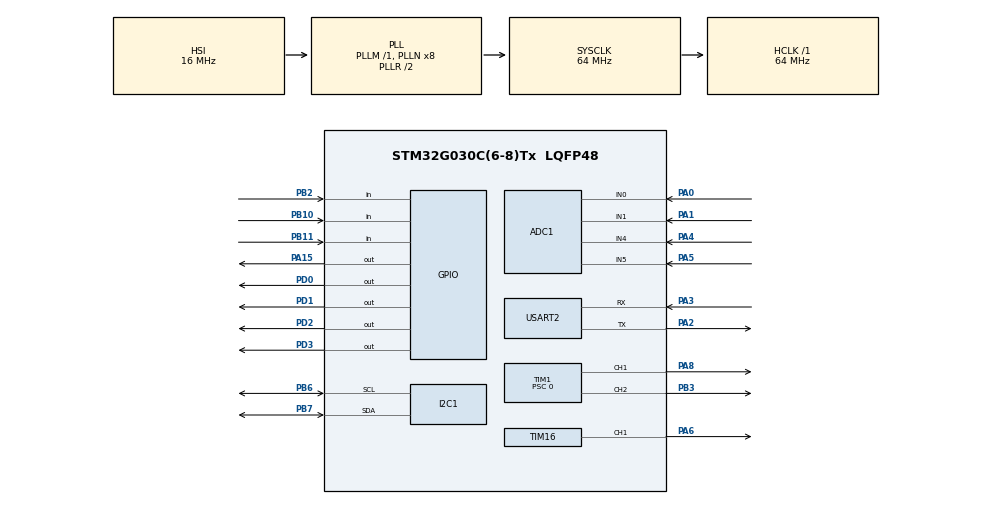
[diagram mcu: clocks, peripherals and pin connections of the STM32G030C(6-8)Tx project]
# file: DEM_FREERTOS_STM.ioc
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ADC1.Channel-0\#ChannelRegularConversion=ADC_CHANNEL_0
ADC1.Channel-1\#ChannelRegularConversion=ADC_CHANNEL_1
ADC1.Channel-2\#ChannelRegularConversion=ADC_CHANNEL_4
ADC1.Channel-3\#ChannelRegularConversion=ADC_CHANNEL_5
ADC1.ClockPrescaler=ADC_CLOCK_SYNC_PCLK_DIV4
ADC1.ContinuousConvMode=DISABLE
ADC1.DMAContinuousRequests=ENABLE
ADC1.EOCSelection=ADC_EOC_SEQ_CONV
ADC1.ExternalTrigConv=ADC_SOFTWARE_START
ADC1.NbrOfConversion=4
ADC1.NbrOfConversionFlag=1
ADC1.Rank-0\#ChannelRegularConversion=1
ADC1.Rank-1\#ChannelRegularConversion=2
ADC1.Rank-2\#ChannelRegularConversion=3
ADC1.Rank-3\#ChannelRegularConversion=4
ADC1.SamplingTime-0\#ChannelRegularConversion=ADC_SAMPLINGTIME_COMMON_2
ADC1.SamplingTime-1\#ChannelRegularConversion=ADC_SAMPLINGTIME_COMMON_2
ADC1.SamplingTime-2\#ChannelRegularConversion=ADC_SAMPLINGTIME_COMMON_1
ADC1.SamplingTime-3\#ChannelRegularConversion=ADC_SAMPLINGTIME_COMMON_1
ADC1.SamplingTimeCommon1=ADC_SAMPLETIME_160CYCLES_5
ADC1.SamplingTimeCommon2=ADC_SAMPLETIME_160CYCLES_5
ADC1.SelectedChannel=ADC_CHANNEL_0|ADC_CHANNEL_1|ADC_CHANNEL_4|ADC_CHANNEL_5
ADC1.master=1
Dma.ADC1.0.Direction=DMA_PERIPH_TO_MEMORY
Dma.ADC1.0.EventEnable=DISABLE
Dma.ADC1.0.Instance=DMA1_Channel1
Dma.ADC1.0.MemDataAlignment=DMA_MDATAALIGN_HALFWORD
Dma.ADC1.0.MemInc=DMA_MINC_ENABLE
Dma.ADC1.0.Mode=DMA_NORMAL
Dma.ADC1.0.PeriphDataAlignment=DMA_PDATAALIGN_HALFWORD
Dma.ADC1.0.PeriphInc=DMA_PINC_DISABLE
Dma.ADC1.0.Polarity=HAL_DMAMUX_REQ_GEN_RISING
Dma.ADC1.0.Priority=DMA_PRIORITY_LOW
Dma.ADC1.0.RequestNumber=1
Dma.ADC1.0.SignalID=NONE
Dma.ADC1.0.SyncEnable=DISABLE
Dma.ADC1.0.SyncPolarity=HAL_DMAMUX_SYNC_NO_EVENT
Dma.ADC1.0.SyncRequestNumber=1
Dma.ADC1.0.SyncSignalID=NONE
Dma.Request0=ADC1
FREERTOS.BinarySemaphores01=adcSem,Dynamic,NULL,Available
FREERTOS.HEAP_NUMBER=3
FREERTOS.MEMORY_ALLOCATION=2
FREERTOS.Mutexes01=i2cMutex,Dynamic,NULL,Available
FREERTOS.Tasks01=TaskADC,2,96,vTaskADC,Default,NULL,Dynamic,NULL,NULL;TaskLis2dw12,1,96,vTaskLis2dw12,Default,NULL,Dynamic,NULL,NULL;TaskUART,-1,96,vTaskUART,Default,NULL,Dynamic,NULL,NULL;TaskSsd1306,-1,128,vTaskSsd1306,Default,NULL,Dynamic,NULL,NULL
FREERTOS.Timers01=KnightTimer,vTimerCallback_KnightRider,osTimerPeriodic,Default,NULL,Dynamic,NULL
FREERTOS.configMAX_PRIORITIES=7
FREERTOS.configMINIMAL_STACK_SIZE=64
FREERTOS.configQUEUE_REGISTRY_SIZE=10
FREERTOS.configTIMER_TASK_PRIORITY=4
FREERTOS.configTIMER_TASK_STACK_DEPTH=128
FREERTOS.configTOTAL_HEAP_SIZE=3272
FREERTOS.configUSE_NEWLIB_REENTRANT=1
FREERTOS.configUSE_TIMERS=1
I2C1.Timing=0x10B17DB5
Mcu.Family=STM32G0
Mcu.Name=STM32G030C(6-8)Tx
Mcu.Package=LQFP48
NVIC.DMA1_Channel1_IRQn=true\:3\:0\:false\:false\:true\:true\:false\:true\:true
NVIC.TIM3_IRQn=true\:3\:0\:false\:false\:true\:false\:false\:true\:true
NVIC.TimeBase=TIM3_IRQn
NVIC.TimeBaseIP=TIM3
PA0.Mode=IN0
PA0.Signal=ADC1_IN0
PA1.Mode=IN1
PA1.Signal=ADC1_IN1
PA13.Mode=Serial_Wire
PA13.Signal=SYS_SWDIO
PA14-BOOT0.Mode=Serial_Wire
PA14-BOOT0.Signal=SYS_SWCLK
PA15.Signal=GPIO_Output
PA2.Mode=Asynchronous
PA2.Signal=USART2_TX
PA3.Mode=Asynchronous
PA3.Signal=USART2_RX
PA4.Mode=IN4
PA4.Signal=ADC1_IN4
PA5.Mode=IN5
PA5.Signal=ADC1_IN5
PA6.Signal=S_TIM16_CH1
PA8.Signal=S_TIM1_CH1
PB10.Signal=GPIO_Input
PB11.Signal=GPIO_Input
PB2.Signal=GPIO_Input
PB3.Signal=S_TIM1_CH2
PB6.Mode=I2C
PB6.Signal=I2C1_SCL
PB7.Mode=I2C
PB7.Signal=I2C1_SDA
PD0.Signal=GPIO_Output
PD1.Signal=GPIO_Output
PD2.Signal=GPIO_Output
PD3.Signal=GPIO_Output
PF0-OSC_IN\ (PF0).Mode=HSE-External-Oscillator
PF0-OSC_IN\ (PF0).Signal=RCC_OSC_IN
PF1-OSC_OUT\ (PF1).Mode=HSE-External-Oscillator
PF1-OSC_OUT\ (PF1).Signal=RCC_OSC_OUT
ProjectManager.HeapSize=0x200
ProjectManager.StackSize=0x400
ProjectManager.TargetToolchain=STM32CubeIDE
RCC.ADCFreq_Value=64000000
RCC.AHBFreq_Value=64000000
RCC.CortexFreq_Value=64000000
RCC.EXTERNAL_CLOCK_VALUE=12288000
RCC.HCLKFreq_Value=64000000
RCC.HSE_VALUE=8000000
RCC.HSI_VALUE=16000000
RCC.LSE_VALUE=32768
RCC.SYSCLKFreq_VALUE=64000000
RCC.SYSCLKSource=RCC_SYSCLKSOURCE_PLLCLK
RCC.VCOOutputFreq_Value=128000000
SH.S_TIM16_CH1.0=TIM16_CH1,PWM Generation1 CH1
SH.S_TIM1_CH1.0=TIM1_CH1,PWM Generation1 CH1
SH.S_TIM1_CH2.0=TIM1_CH2,PWM Generation2 CH2
TIM1.Channel-PWM\ Generation1\ CH1=TIM_CHANNEL_1
TIM1.Channel-PWM\ Generation2\ CH2=TIM_CHANNEL_2
TIM1.Period=65535-1
TIM1.Prescaler=0
TIM1.TIM_MasterOutputTrigger2=TIM_TRGO2_RESET
TIM16.Channel=TIM_CHANNEL_1
USART2.VirtualMode-Asynchronous=VM_ASYNC
VP_FREERTOS_VS_CMSIS_V1.Mode=CMSIS_V1
VP_RTC_VS_RTC_Activate.Mode=RTC_Enabled
VP_SYS_VS_tim3.Mode=TIM3
VP_TIM16_VS_ClockSourceINT.Mode=Enable_Timer
board=custom

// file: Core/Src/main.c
/* USER CODE BEGIN Header */
/**
 ******************************************************************************
 * @file           : main.c
 * @brief          : Main program body
 ******************************************************************************
 * @attention
 *
 * Copyright (c) 2025 STMicroelectronics.
 * All rights reserved.
 *
 * This software is licensed under terms that can be found in the LICENSE file
 * in the root directory of this software component.
 * If no LICENSE file comes with this software, it is provided AS-IS.
 *
 ******************************************************************************
 */
/* USER CODE END Header */
#include "main.h"
#include "cmsis_os.h"

/* USER CODE BEGIN Includes */
#include "math.h"
#include "stdlib.h"
#include "lis2dw12_reg.h"
#include "stdio.h"
#include "string.h"
#include "ssd1306_tests.h"
#include "ssd1306.h"
#include "FreeRTOS.h"
#include "task.h"
#include "timers.h"
#include "queue.h"
#include "semphr.h"
#include "event_groups.h"
/* USER CODE END Includes */

/* USER CODE BEGIN PD */
#define ADC_CHANNELS 4
#define SENSOR_BUS     hi2c1
#define BOOT_TIME      20 //ms
#define SOURCE_ADC   0
#define SOURCE_ACCEL 1
/* USER CODE END PD */

/* USER CODE BEGIN PM */
typedef struct {
	float roll;
	float pitch;
} Angles;
stmdev_ctx_t dev_ctx;
Angles angle;

typedef struct {
	uint16_t source;
	uint16_t val1;
	uint16_t val2;
} SystemMessage_t;
// Accelerometer Data and Status
static int16_t data_raw_acceleration[3];
static float acceleration_mg[3];
static uint8_t whoamI, rst;
volatile uint16_t ADC_VAL[ADC_CHANNELS];
float temperature;
float light;
uint8_t rgb_r, rgb_g, rgb_b;
uint16_t last_temp = 0, last_light = 0;
uint16_t last_pitch = 0, last_roll = 0;
uint8_t mutex_flag = 0, queue_flag = 0;
uint8_t error_queue1 = 0, error_queue = 0;
/* USER CODE END PM */

ADC_HandleTypeDef hadc1;
DMA_HandleTypeDef hdma_adc1;

I2C_HandleTypeDef hi2c1;

RTC_HandleTypeDef hrtc;

TIM_HandleTypeDef htim1;
TIM_HandleTypeDef htim16;

UART_HandleTypeDef huart2;

osThreadId TaskADCHandle;
osThreadId TaskLis2dw12Handle;
osThreadId TaskUARTHandle;
osThreadId TaskSsd1306Handle;
osTimerId KnightTimerHandle;
osMutexId i2cMutexHandle;
osSemaphoreId adcSemHandle;
/* USER CODE BEGIN PV */
QueueHandle_t dataQueueHandle;
/* USER CODE END PV */

void SystemClock_Config(void);
static void MX_GPIO_Init(void);
static void MX_DMA_Init(void);
static void MX_ADC1_Init(void);
static void MX_I2C1_Init(void);
static void MX_TIM1_Init(void);
static void MX_TIM16_Init(void);
static void MX_USART2_UART_Init(void);
static void MX_RTC_Init(void);
void vTaskADC(void const * argument);
void vTaskLis2dw12(void const * argument);
void vTaskUART(void const * argument);
void vTaskSsd1306(void const * argument);
void vTimerCallback_KnightRider(void const * argument);

/* USER CODE BEGIN PFP */
static int32_t platform_write(void *handle, uint8_t reg, const uint8_t *bufp,
		uint16_t len);
static int32_t platform_read(void *handle, uint8_t reg, uint8_t *bufp,
		uint16_t len);

float Termistor(uint32_t analogValue) {
	float temperature;
	float adcval = (float) (4096 - analogValue);

	if ((4095.0f - adcval) == 0)
		return 0.0f;

	float resistance = (adcval * 10000.0f) / (4096.0f - adcval);
	temperature = logf(resistance);

	temperature = 1.0f
			/ (0.001129148f
					+ (0.000234125f
							+ (0.0000000876741f * temperature * temperature))
							* temperature);
	temperature = temperature - 273.15f;

	return temperature;
}

void TrimpotToRGB(uint32_t pot1, uint32_t pot2, uint8_t *rgb_r, uint8_t *rgb_g,
		uint8_t *rgb_b) {
	float h = ((float) pot1 - 2150.0f) * (360.0f / 1945.0f);
	float s = ((float) pot2 - 2100.0f) * (1.0f / 1995.0f);
	float v = 1.0f;

	float c = v * s;
	float x = c * (1.0f - fabsf(fmodf(h / 60.0f, 2.0f) - 1.0f));
	float m = v - c;

	float r1, g1, b1;

	if (h < 60) {
		r1 = c;
		g1 = x;
		b1 = 0;
	} else if (h < 120) {
		r1 = x;
		g1 = c;
		b1 = 0;
	} else if (h < 180) {
		r1 = 0;
		g1 = c;
		b1 = x;
	} else if (h < 240) {
		r1 = 0;
		g1 = x;
		b1 = c;
	} else if (h < 300) {
		r1 = x;
		g1 = 0;
		b1 = c;
	} else {
		r1 = c;
		g1 = 0;
		b1 = x;
	}

	*rgb_r = (uint8_t) ((r1 + m) * 255.0f);
	*rgb_g = (uint8_t) ((g1 + m) * 255.0f);
	*rgb_b = (uint8_t) ((b1 + m) * 255.0f);
}
/**
 * @brief Initializes the LIS2DW12 accelerometer sensor.
 */
static void LIS2DW12_Init(void) {
	dev_ctx.write_reg = platform_write;
	dev_ctx.read_reg = platform_read;
	dev_ctx.handle = &SENSOR_BUS;

	lis2dw12_device_id_get(&dev_ctx, &whoamI);
	lis2dw12_reset_set(&dev_ctx, PROPERTY_ENABLE);

	do {
		lis2dw12_reset_get(&dev_ctx, &rst);
	} while (rst);

	/* Enable Block Data Update */
	lis2dw12_block_data_update_set(&dev_ctx, PROPERTY_ENABLE);
	/* Set full scale */
	lis2dw12_full_scale_set(&dev_ctx, LIS2DW12_2g);
	/* Configure filtering chain
	 * Accelerometer - filter path / bandwidth
	 */
	lis2dw12_filter_path_set(&dev_ctx, LIS2DW12_LPF_ON_OUT);
	lis2dw12_filter_bandwidth_set(&dev_ctx, LIS2DW12_ODR_DIV_4);
	/* Configure power mode */
	lis2dw12_power_mode_set(&dev_ctx, LIS2DW12_HIGH_PERFORMANCE);
	/* Set Output Data Rate */
	lis2dw12_data_rate_set(&dev_ctx, LIS2DW12_XL_ODR_25Hz);
}

/**
 * @brief Reads the latest data from the accelerometer if available.
 */
static void Read_Accelerometer(void) {
	uint8_t reg;
	/* Read output only if new value is available */
	lis2dw12_flag_data_ready_get(&dev_ctx, &reg);

	if (reg) {
		/* Read acceleration data */
		memset(data_raw_acceleration, 0, sizeof(data_raw_acceleration));
		lis2dw12_acceleration_raw_get(&dev_ctx, data_raw_acceleration);
		acceleration_mg[0] = lis2dw12_from_fs2_to_mg(data_raw_acceleration[0]);
		acceleration_mg[1] = lis2dw12_from_fs2_to_mg(data_raw_acceleration[1]);
		acceleration_mg[2] = lis2dw12_from_fs2_to_mg(data_raw_acceleration[2]);
	}
}

/**
 * @brief Calculates roll and pitch angles from accelerometer data.
 * @param x: X-axis acceleration
 * @param y: Y-axis acceleration
 * @param z: Z-axis acceleration
 * @retval Angles struct containing roll and pitch
 */
static Angles Calculate_Angles(float x, float y, float z) {
	Angles angles_calc;

	const float PI_F = 3.14159265f;

	angles_calc.roll = atan2f(y, z) * 180.0f / PI_F;
	angles_calc.pitch = atan2f(-x, sqrtf(y * y + z * z)) * 180.0f / PI_F;

	if (angles_calc.roll < 0) {
		angles_calc.roll += 360.0f;
	}
	if (angles_calc.pitch < 0) {
		angles_calc.pitch += 360.0f;
	}

	return angles_calc;
}

/* USER CODE END PFP */

int main(void)
{

  /* MCU Configuration--------------------------------------------------------*/

  /* Reset of all peripherals, Initializes the Flash interface and the Systick. */
  HAL_Init();

  /* Configure the system clock */
  SystemClock_Config();

  /* Initialize all configured peripherals */
  MX_GPIO_Init();
  MX_DMA_Init();
  MX_ADC1_Init();
  MX_I2C1_Init();
  MX_TIM1_Init();
  MX_TIM16_Init();
  MX_USART2_UART_Init();
  MX_RTC_Init();
  /* USER CODE BEGIN 2 */
	HAL_ADCEx_Calibration_Start(&hadc1);

	HAL_TIM_PWM_Start(&htim1, TIM_CHANNEL_1);
	HAL_TIM_PWM_Start(&htim1, TIM_CHANNEL_2);
	HAL_TIM_PWM_Start(&htim16, TIM_CHANNEL_1);

	ssd1306_TestDrawBitmap();
	ssd1306_Init();
	ssd1306_SetCursor(15, 2);
	ssd1306_WriteString("STARTING", Font_11x18, White);
	ssd1306_SetCursor(14, 27);
	ssd1306_WriteString("FREERTOS", Font_11x18, White);
	ssd1306_SetCursor(45, 46);
	ssd1306_WriteString("STM", Font_11x18, White);
	ssd1306_UpdateScreen();
	HAL_Delay(1000);
	ssd1306_Fill(Black);

	LIS2DW12_Init();
  /* USER CODE END 2 */

  /* Create the mutex(es) */
  /* definition and creation of i2cMutex */
  osMutexDef(i2cMutex);
  i2cMutexHandle = osMutexCreate(osMutex(i2cMutex));

  /* Create the semaphores(s) */
  /* definition and creation of adcSem */
  osSemaphoreDef(adcSem);
  adcSemHandle = osSemaphoreCreate(osSemaphore(adcSem), 1);

  /* Create the timer(s) */
  /* definition and creation of KnightTimer */
  osTimerDef(KnightTimer, vTimerCallback_KnightRider);
  KnightTimerHandle = osTimerCreate(osTimer(KnightTimer), osTimerPeriodic, NULL);

  /* USER CODE BEGIN RTOS_TIMERS */
	/* start timers, add new ones, ... */
	osTimerStart(KnightTimerHandle, 100);
  /* USER CODE END RTOS_TIMERS */

  /* USER CODE BEGIN RTOS_QUEUES */
	/* add queues, ... */
	dataQueueHandle = xQueueCreate(5, sizeof(SystemMessage_t));
  /* USER CODE END RTOS_QUEUES */

  /* Create the thread(s) */
  /* definition and creation of TaskADC */
  osThreadDef(TaskADC, vTaskADC, osPriorityHigh, 0, 96);
  TaskADCHandle = osThreadCreate(osThread(TaskADC), NULL);

  /* definition and creation of TaskLis2dw12 */
  osThreadDef(TaskLis2dw12, vTaskLis2dw12, osPriorityAboveNormal, 0, 96);
  TaskLis2dw12Handle = osThreadCreate(osThread(TaskLis2dw12), NULL);

  /* definition and creation of TaskUART */
  osThreadDef(TaskUART, vTaskUART, osPriorityBelowNormal, 0, 96);
  TaskUARTHandle = osThreadCreate(osThread(TaskUART), NULL);

  /* definition and creation of TaskSsd1306 */
  osThreadDef(TaskSsd1306, vTaskSsd1306, osPriorityBelowNormal, 0, 128);
  TaskSsd1306Handle = osThreadCreate(osThread(TaskSsd1306), NULL);

  /* Start scheduler */
  osKernelStart();

  /* We should never get here as control is now taken by the scheduler */

  /* Infinite loop */
	while (1) {

	}
}

void SystemClock_Config(void)
{
  RCC_OscInitTypeDef RCC_OscInitStruct = {0};
  RCC_ClkInitTypeDef RCC_ClkInitStruct = {0};

  /** Configure the main internal regulator output voltage
  */
  HAL_PWREx_ControlVoltageScaling(PWR_REGULATOR_VOLTAGE_SCALE1);

  /** Initializes the RCC Oscillators according to the specified parameters
  * in the RCC_OscInitTypeDef structure.
  */
  RCC_OscInitStruct.OscillatorType = RCC_OSCILLATORTYPE_HSI|RCC_OSCILLATORTYPE_LSI;
  RCC_OscInitStruct.HSIState = RCC_HSI_ON;
  RCC_OscInitStruct.HSIDiv = RCC_HSI_DIV1;
  RCC_OscInitStruct.HSICalibrationValue = RCC_HSICALIBRATION_DEFAULT;
  RCC_OscInitStruct.LSIState = RCC_LSI_ON;
  RCC_OscInitStruct.PLL.PLLState = RCC_PLL_ON;
  RCC_OscInitStruct.PLL.PLLSource = RCC_PLLSOURCE_HSI;
  RCC_OscInitStruct.PLL.PLLM = RCC_PLLM_DIV1;
  RCC_OscInitStruct.PLL.PLLN = 8;
  RCC_OscInitStruct.PLL.PLLP = RCC_PLLP_DIV2;
  RCC_OscInitStruct.PLL.PLLR = RCC_PLLR_DIV2;
  if (HAL_RCC_OscConfig(&RCC_OscInitStruct) != HAL_OK)
  {
    Error_Handler();
  }

  /** Initializes the CPU, AHB and APB buses clocks
  */
  RCC_ClkInitStruct.ClockType = RCC_CLOCKTYPE_HCLK|RCC_CLOCKTYPE_SYSCLK
                              |RCC_CLOCKTYPE_PCLK1;
  RCC_ClkInitStruct.SYSCLKSource = RCC_SYSCLKSOURCE_PLLCLK;
  RCC_ClkInitStruct.AHBCLKDivider = RCC_SYSCLK_DIV1;
  RCC_ClkInitStruct.APB1CLKDivider = RCC_HCLK_DIV1;

  if (HAL_RCC_ClockConfig(&RCC_ClkInitStruct, FLASH_LATENCY_2) != HAL_OK)
  {
    Error_Handler();
  }
}

static void MX_ADC1_Init(void)
{

  ADC_ChannelConfTypeDef sConfig = {0};

  /** Configure the global features of the ADC (Clock, Resolution, Data Alignment and number of conversion)
  */
  hadc1.Instance = ADC1;
  hadc1.Init.ClockPrescaler = ADC_CLOCK_SYNC_PCLK_DIV4;
  hadc1.Init.Resolution = ADC_RESOLUTION_12B;
  hadc1.Init.DataAlign = ADC_DATAALIGN_RIGHT;
  hadc1.Init.ScanConvMode = ADC_SCAN_ENABLE;
  hadc1.Init.EOCSelection = ADC_EOC_SEQ_CONV;
  hadc1.Init.LowPowerAutoWait = DISABLE;
  hadc1.Init.LowPowerAutoPowerOff = DISABLE;
  hadc1.Init.ContinuousConvMode = DISABLE;
  hadc1.Init.NbrOfConversion = 4;
  hadc1.Init.DiscontinuousConvMode = DISABLE;
  hadc1.Init.ExternalTrigConv = ADC_SOFTWARE_START;
  hadc1.Init.ExternalTrigConvEdge = ADC_EXTERNALTRIGCONVEDGE_NONE;
  hadc1.Init.DMAContinuousRequests = ENABLE;
  hadc1.Init.Overrun = ADC_OVR_DATA_PRESERVED;
  hadc1.Init.SamplingTimeCommon1 = ADC_SAMPLETIME_160CYCLES_5;
  hadc1.Init.SamplingTimeCommon2 = ADC_SAMPLETIME_160CYCLES_5;
  hadc1.Init.OversamplingMode = DISABLE;
  hadc1.Init.TriggerFrequencyMode = ADC_TRIGGER_FREQ_HIGH;
  if (HAL_ADC_Init(&hadc1) != HAL_OK)
  {
    Error_Handler();
  }

  /** Configure Regular Channel
  */
  sConfig.Channel = ADC_CHANNEL_0;
  sConfig.Rank = ADC_REGULAR_RANK_1;
  sConfig.SamplingTime = ADC_SAMPLINGTIME_COMMON_2;
  if (HAL_ADC_ConfigChannel(&hadc1, &sConfig) != HAL_OK)
  {
    Error_Handler();
  }

  /** Configure Regular Channel
  */
  sConfig.Channel = ADC_CHANNEL_1;
  sConfig.Rank = ADC_REGULAR_RANK_2;
  if (HAL_ADC_ConfigChannel(&hadc1, &sConfig) != HAL_OK)
  {
    Error_Handler();
  }

  /** Configure Regular Channel
  */
  sConfig.Channel = ADC_CHANNEL_4;
  sConfig.Rank = ADC_REGULAR_RANK_3;
  sConfig.SamplingTime = ADC_SAMPLINGTIME_COMMON_1;
  if (HAL_ADC_ConfigChannel(&hadc1, &sConfig) != HAL_OK)
  {
    Error_Handler();
  }

  /** Configure Regular Channel
  */
  sConfig.Channel = ADC_CHANNEL_5;
  sConfig.Rank = ADC_REGULAR_RANK_4;
  if (HAL_ADC_ConfigChannel(&hadc1, &sConfig) != HAL_OK)
  {
    Error_Handler();
  }

}

static void MX_I2C1_Init(void)
{

  hi2c1.Instance = I2C1;
  hi2c1.Init.Timing = 0x10B17DB5;
  hi2c1.Init.OwnAddress1 = 0;
  hi2c1.Init.AddressingMode = I2C_ADDRESSINGMODE_7BIT;
  hi2c1.Init.DualAddressMode = I2C_DUALADDRESS_DISABLE;
  hi2c1.Init.OwnAddress2 = 0;
  hi2c1.Init.OwnAddress2Masks = I2C_OA2_NOMASK;
  hi2c1.Init.GeneralCallMode = I2C_GENERALCALL_DISABLE;
  hi2c1.Init.NoStretchMode = I2C_NOSTRETCH_DISABLE;
  if (HAL_I2C_Init(&hi2c1) != HAL_OK)
  {
    Error_Handler();
  }

  /** Configure Analogue filter
  */
  if (HAL_I2CEx_ConfigAnalogFilter(&hi2c1, I2C_ANALOGFILTER_ENABLE) != HAL_OK)
  {
    Error_Handler();
  }

  /** Configure Digital filter
  */
  if (HAL_I2CEx_ConfigDigitalFilter(&hi2c1, 0) != HAL_OK)
  {
    Error_Handler();
  }

}

static void MX_RTC_Init(void)
{

  /** Initialize RTC Only
  */
  hrtc.Instance = RTC;
  hrtc.Init.HourFormat = RTC_HOURFORMAT_24;
  hrtc.Init.AsynchPrediv = 127;
  hrtc.Init.SynchPrediv = 255;
  hrtc.Init.OutPut = RTC_OUTPUT_DISABLE;
  hrtc.Init.OutPutRemap = RTC_OUTPUT_REMAP_NONE;
  hrtc.Init.OutPutPolarity = RTC_OUTPUT_POLARITY_HIGH;
  hrtc.Init.OutPutType = RTC_OUTPUT_TYPE_OPENDRAIN;
  hrtc.Init.OutPutPullUp = RTC_OUTPUT_PULLUP_NONE;
  if (HAL_RTC_Init(&hrtc) != HAL_OK)
  {
    Error_Handler();
  }

}

static void MX_TIM1_Init(void)
{

  TIM_MasterConfigTypeDef sMasterConfig = {0};
  TIM_OC_InitTypeDef sConfigOC = {0};
  TIM_BreakDeadTimeConfigTypeDef sBreakDeadTimeConfig = {0};

  htim1.Instance = TIM1;
  htim1.Init.Prescaler = 0;
  htim1.Init.CounterMode = TIM_COUNTERMODE_UP;
  htim1.Init.Period = 65535-1;
  htim1.Init.ClockDivision = TIM_CLOCKDIVISION_DIV1;
  htim1.Init.RepetitionCounter = 0;
  htim1.Init.AutoReloadPreload = TIM_AUTORELOAD_PRELOAD_DISABLE;
  if (HAL_TIM_PWM_Init(&htim1) != HAL_OK)
  {
    Error_Handler();
  }
  sMasterConfig.MasterOutputTrigger = TIM_TRGO_RESET;
  sMasterConfig.MasterOutputTrigger2 = TIM_TRGO2_RESET;
  sMasterConfig.MasterSlaveMode = TIM_MASTERSLAVEMODE_DISABLE;
  if (HAL_TIMEx_MasterConfigSynchronization(&htim1, &sMasterConfig) != HAL_OK)
  {
    Error_Handler();
  }
  sConfigOC.OCMode = TIM_OCMODE_PWM1;
  sConfigOC.Pulse = 0;
  sConfigOC.OCPolarity = TIM_OCPOLARITY_HIGH;
  sConfigOC.OCNPolarity = TIM_OCNPOLARITY_HIGH;
  sConfigOC.OCFastMode = TIM_OCFAST_DISABLE;
  sConfigOC.OCIdleState = TIM_OCIDLESTATE_RESET;
  sConfigOC.OCNIdleState = TIM_OCNIDLESTATE_RESET;
  if (HAL_TIM_PWM_ConfigChannel(&htim1, &sConfigOC, TIM_CHANNEL_1) != HAL_OK)
  {
    Error_Handler();
  }
  if (HAL_TIM_PWM_ConfigChannel(&htim1, &sConfigOC, TIM_CHANNEL_2) != HAL_OK)
  {
    Error_Handler();
  }
  sBreakDeadTimeConfig.OffStateRunMode = TIM_OSSR_DISABLE;
  sBreakDeadTimeConfig.OffStateIDLEMode = TIM_OSSI_DISABLE;
  sBreakDeadTimeConfig.LockLevel = TIM_LOCKLEVEL_OFF;
  sBreakDeadTimeConfig.DeadTime = 0;
  sBreakDeadTimeConfig.BreakState = TIM_BREAK_DISABLE;
  sBreakDeadTimeConfig.BreakPolarity = TIM_BREAKPOLARITY_HIGH;
  sBreakDeadTimeConfig.BreakFilter = 0;
  sBreakDeadTimeConfig.BreakAFMode = TIM_BREAK_AFMODE_INPUT;
  sBreakDeadTimeConfig.Break2State = TIM_BREAK2_DISABLE;
  sBreakDeadTimeConfig.Break2Polarity = TIM_BREAK2POLARITY_HIGH;
  sBreakDeadTimeConfig.Break2Filter = 0;
  sBreakDeadTimeConfig.Break2AFMode = TIM_BREAK_AFMODE_INPUT;
  sBreakDeadTimeConfig.AutomaticOutput = TIM_AUTOMATICOUTPUT_DISABLE;
  if (HAL_TIMEx_ConfigBreakDeadTime(&htim1, &sBreakDeadTimeConfig) != HAL_OK)
  {
    Error_Handler();
  }
  HAL_TIM_MspPostInit(&htim1);

}

static void MX_TIM16_Init(void)
{

  TIM_OC_InitTypeDef sConfigOC = {0};
  TIM_BreakDeadTimeConfigTypeDef sBreakDeadTimeConfig = {0};

  htim16.Instance = TIM16;
  htim16.Init.Prescaler = 0;
  htim16.Init.CounterMode = TIM_COUNTERMODE_UP;
  htim16.Init.Period = 65535;
  htim16.Init.ClockDivision = TIM_CLOCKDIVISION_DIV1;
  htim16.Init.RepetitionCounter = 0;
  htim16.Init.AutoReloadPreload = TIM_AUTORELOAD_PRELOAD_DISABLE;
  if (HAL_TIM_Base_Init(&htim16) != HAL_OK)
  {
    Error_Handler();
  }
  if (HAL_TIM_PWM_Init(&htim16) != HAL_OK)
  {
    Error_Handler();
  }
  sConfigOC.OCMode = TIM_OCMODE_PWM1;
  sConfigOC.Pulse = 0;
  sConfigOC.OCPolarity = TIM_OCPOLARITY_HIGH;
  sConfigOC.OCNPolarity = TIM_OCNPOLARITY_HIGH;
  sConfigOC.OCFastMode = TIM_OCFAST_DISABLE;
  sConfigOC.OCIdleState = TIM_OCIDLESTATE_RESET;
  sConfigOC.OCNIdleState = TIM_OCNIDLESTATE_RESET;
  if (HAL_TIM_PWM_ConfigChannel(&htim16, &sConfigOC, TIM_CHANNEL_1) != HAL_OK)
  {
    Error_Handler();
  }
  sBreakDeadTimeConfig.OffStateRunMode = TIM_OSSR_DISABLE;
  sBreakDeadTimeConfig.OffStateIDLEMode = TIM_OSSI_DISABLE;
  sBreakDeadTimeConfig.LockLevel = TIM_LOCKLEVEL_OFF;
  sBreakDeadTimeConfig.DeadTime = 0;
  sBreakDeadTimeConfig.BreakState = TIM_BREAK_DISABLE;
  sBreakDeadTimeConfig.BreakPolarity = TIM_BREAKPOLARITY_HIGH;
  sBreakDeadTimeConfig.BreakFilter = 0;
  sBreakDeadTimeConfig.AutomaticOutput = TIM_AUTOMATICOUTPUT_DISABLE;
  if (HAL_TIMEx_ConfigBreakDeadTime(&htim16, &sBreakDeadTimeConfig) != HAL_OK)
  {
    Error_Handler();
  }
  HAL_TIM_MspPostInit(&htim16);

}

static void MX_USART2_UART_Init(void)
{

  huart2.Instance = USART2;
  huart2.Init.BaudRate = 115200;
  huart2.Init.WordLength = UART_WORDLENGTH_8B;
  huart2.Init.StopBits = UART_STOPBITS_1;
  huart2.Init.Parity = UART_PARITY_NONE;
  huart2.Init.Mode = UART_MODE_TX_RX;
  huart2.Init.HwFlowCtl = UART_HWCONTROL_NONE;
  huart2.Init.OverSampling = UART_OVERSAMPLING_16;
  huart2.Init.OneBitSampling = UART_ONE_BIT_SAMPLE_DISABLE;
  huart2.Init.ClockPrescaler = UART_PRESCALER_DIV1;
  huart2.AdvancedInit.AdvFeatureInit = UART_ADVFEATURE_NO_INIT;
  if (HAL_UART_Init(&huart2) != HAL_OK)
  {
    Error_Handler();
  }

}

static void MX_DMA_Init(void)
{

  /* DMA controller clock enable */
  __HAL_RCC_DMA1_CLK_ENABLE();

  /* DMA interrupt init */
  /* DMA1_Channel1_IRQn interrupt configuration */
  HAL_NVIC_SetPriority(DMA1_Channel1_IRQn, 3, 0);
  HAL_NVIC_EnableIRQ(DMA1_Channel1_IRQn);

}

static void MX_GPIO_Init(void)
{
  GPIO_InitTypeDef GPIO_InitStruct = {0};

  /* GPIO Ports Clock Enable */
  __HAL_RCC_GPIOF_CLK_ENABLE();
  __HAL_RCC_GPIOA_CLK_ENABLE();
  __HAL_RCC_GPIOB_CLK_ENABLE();
  __HAL_RCC_GPIOD_CLK_ENABLE();

  /*Configure GPIO pin Output Level */
  HAL_GPIO_WritePin(GPIOA, GPIO_PIN_15, GPIO_PIN_RESET);

  /*Configure GPIO pin Output Level */
  HAL_GPIO_WritePin(GPIOD, GPIO_PIN_0|GPIO_PIN_1|GPIO_PIN_2|GPIO_PIN_3, GPIO_PIN_RESET);

  /*Configure GPIO pins : PB2 PB10 PB11 */
  GPIO_InitStruct.Pin = GPIO_PIN_2|GPIO_PIN_10|GPIO_PIN_11;
  GPIO_InitStruct.Mode = GPIO_MODE_INPUT;
  GPIO_InitStruct.Pull = GPIO_NOPULL;
  HAL_GPIO_Init(GPIOB, &GPIO_InitStruct);

  /*Configure GPIO pin : PA15 */
  GPIO_InitStruct.Pin = GPIO_PIN_15;
  GPIO_InitStruct.Mode = GPIO_MODE_OUTPUT_PP;
  GPIO_InitStruct.Pull = GPIO_NOPULL;
  GPIO_InitStruct.Speed = GPIO_SPEED_FREQ_LOW;
  HAL_GPIO_Init(GPIOA, &GPIO_InitStruct);

  /*Configure GPIO pins : PD0 PD1 PD2 PD3 */
  GPIO_InitStruct.Pin = GPIO_PIN_0|GPIO_PIN_1|GPIO_PIN_2|GPIO_PIN_3;
  GPIO_InitStruct.Mode = GPIO_MODE_OUTPUT_PP;
  GPIO_InitStruct.Pull = GPIO_NOPULL;
  GPIO_InitStruct.Speed = GPIO_SPEED_FREQ_LOW;
  HAL_GPIO_Init(GPIOD, &GPIO_InitStruct);

}

/* USER CODE BEGIN 4 */
void HAL_ADC_ConvCpltCallback(ADC_HandleTypeDef *hadc) {
	osSemaphoreRelease(adcSemHandle);
}
/**
 * @brief Write generic device register (platform dependent)
 *
 * @param handle I2C handle
 * @param reg register to write
 * @param bufp pointer to data to write
 * @param len number of bytes to write
 *
 */
static int32_t platform_write(void *handle, uint8_t reg, const uint8_t *bufp,
		uint16_t len) {
	HAL_I2C_Mem_Write(handle, LIS2DW12_I2C_ADD_H, reg,
	I2C_MEMADD_SIZE_8BIT, (uint8_t*) bufp, len, 1000);
	return 0;
}

/**
 * @brief Read generic device register (platform dependent)
 *
 * @param handle I2C handle
 * @param reg register to read
 * @param bufp pointer to buffer that store the data read
 * @param len number of consecutive register to read
 *
 */
static int32_t platform_read(void *handle, uint8_t reg, uint8_t *bufp,
		uint16_t len) {
	HAL_I2C_Mem_Read(handle, LIS2DW12_I2C_ADD_H, reg,
	I2C_MEMADD_SIZE_8BIT, bufp, len, 1000);
	return 0;
}
void Uart_Append_Int(char *buff, char *label, int value) {
	char temp[10];
	strcat(buff, label);
	itoa(value, temp, 10);
	strcat(buff, temp);
}
/* USER CODE END 4 */

void vTaskADC(void const * argument)
{
  /* USER CODE BEGIN 5 */
	SystemMessage_t *pMsg;
	HAL_ADC_Start_DMA(&hadc1, (uint32_t*) ADC_VAL, ADC_CHANNELS);
	/* Infinite loop */
	for (;;) {
		if (osSemaphoreWait(adcSemHandle, osWaitForever) == osOK) {

			pMsg = pvPortMalloc(sizeof(SystemMessage_t));

			TrimpotToRGB(ADC_VAL[0], ADC_VAL[1], &rgb_r, &rgb_g, &rgb_b);

			__HAL_TIM_SET_COMPARE(&htim1, TIM_CHANNEL_1,
					(uint32_t )rgb_r * 257);

			__HAL_TIM_SET_COMPARE(&htim1, TIM_CHANNEL_2,
					(uint32_t )rgb_g * 257);

			__HAL_TIM_SET_COMPARE(&htim16, TIM_CHANNEL_1,
					(uint32_t )rgb_b * 257);

			/* --- Sıcaklık hesapla (IN2) --- */
			temperature = Termistor(ADC_VAL[2]);

			light = (float) ADC_VAL[3] * (100.0f / 4095.0f);

			if (temperature < 0)
				temperature = 0;

			pMsg->source = SOURCE_ADC;
			pMsg->val1 = (uint16_t) temperature;
			pMsg->val2 = (uint16_t) light;

			if (xQueueSend(dataQueueHandle, &pMsg, 0) != pdTRUE) {
				vPortFree(pMsg);
				error_queue = 1;
			} else {
				error_queue = 0;
			}
			HAL_ADC_Start_DMA(&hadc1, (uint32_t*) ADC_VAL, ADC_CHANNELS);

			osDelay(100);
		}
	}
  /* USER CODE END 5 */
}

void vTaskLis2dw12(void const * argument)
{
  /* USER CODE BEGIN vTaskLis2dw12 */
	SystemMessage_t *pMsg;
	pMsg = pvPortMalloc(sizeof(SystemMessage_t));
	/* Infinite loop */
	for (;;) {
		if (osMutexWait(i2cMutexHandle, osWaitForever) == osOK) {
			Read_Accelerometer();
			osMutexRelease(i2cMutexHandle);
		}
		angle = Calculate_Angles(acceleration_mg[1], acceleration_mg[0],
				acceleration_mg[2]);

		pMsg->source = SOURCE_ACCEL;
		pMsg->val1 = (uint16_t) angle.pitch;
		pMsg->val2 = (uint16_t) angle.roll;

		if (xQueueSend(dataQueueHandle, &pMsg, 0) != pdTRUE) {
			vPortFree(pMsg); // Gönderilemezse hafızayı temizle
			error_queue1 = 1;
		} else {
			error_queue1 = 0;
		}
		osDelay(100);
	}
  /* USER CODE END vTaskLis2dw12 */
}

void vTaskUART(void const * argument)
{
  /* USER CODE BEGIN vTaskUART */
	static char uart_buff[32];

	/* Infinite loop */
	for (;;) {

		ulTaskNotifyTake(pdTRUE, osWaitForever);

		uart_buff[0] = '\0';

		Uart_Append_Int(uart_buff, "P:", last_pitch);
		Uart_Append_Int(uart_buff, "R:", last_roll);
		Uart_Append_Int(uart_buff, "T:", last_temp);
		Uart_Append_Int(uart_buff, "L:", last_light);

		strcat(uart_buff, "\r\n");

		HAL_UART_Transmit(&huart2, (uint8_t*) uart_buff, strlen(uart_buff),
				100);
	}
  /* USER CODE END vTaskUART */
}

void vTaskSsd1306(void const * argument)
{
  /* USER CODE BEGIN vTaskSsd1306 */
	SystemMessage_t *receivedMsg;
	char line1_buff[32];
	char line2_buff[32];
	char line3_buff[32];
	char temp_str[10];
	/* Infinite loop */
	for (;;) {

		if (xQueueReceive(dataQueueHandle, &receivedMsg,
		osWaitForever) == pdTRUE) {
			queue_flag = 1;

			if (receivedMsg->source == SOURCE_ADC) {
				last_temp = receivedMsg->val1;
				last_light = receivedMsg->val2;
			} else if (receivedMsg->source == SOURCE_ACCEL) {
				last_pitch = receivedMsg->val1;
				last_roll = receivedMsg->val2;
			}
			vPortFree(receivedMsg);

			xTaskNotifyGive(TaskUARTHandle);

			strcpy(line1_buff, "PITCH:");
			if (last_pitch < 10)
				strcat(line1_buff, "  ");
			else if (last_pitch < 100)
				strcat(line1_buff, "  ");
			itoa(last_pitch, temp_str, 10);
			strcat(line1_buff, temp_str);
			strcat(line1_buff, " ");

			strcpy(line2_buff, "ROLL:");
			if (last_roll < 10)
				strcat(line2_buff, "  ");
			else if (last_roll < 100)
				strcat(line2_buff, "  ");
			itoa(last_roll, temp_str, 10);
			strcat(line2_buff, temp_str);
			strcat(line2_buff, " ");

			strcpy(line3_buff, "T:");
			itoa(last_temp, temp_str, 10);
			strcat(line3_buff, temp_str);

			strcat(line3_buff, "C L:");
			if (last_light < 10) {
				strcat(line3_buff, " ");
			} else if (last_light < 100) {
				strcat(line3_buff, "");
			}
			itoa(last_light, temp_str, 10);
			strcat(line3_buff, temp_str);
			strcat(line3_buff, "%");

			if (osMutexWait(i2cMutexHandle, osWaitForever) == osOK) {
				ssd1306_SetCursor(0, 1);
				ssd1306_WriteString(line1_buff, Font_11x18, White);
				ssd1306_SetCursor(0, 23);
				ssd1306_WriteString(line2_buff, Font_11x18, White);
				ssd1306_SetCursor(0, 45);
				ssd1306_WriteString(line3_buff, Font_11x18, White);
				ssd1306_UpdateScreen();
				osMutexRelease(i2cMutexHandle);
			}
		}

	}
  /* USER CODE END vTaskSsd1306 */
}

/* vTimerCallback_KnightRider function */
void vTimerCallback_KnightRider(void const * argument)
{
  /* USER CODE BEGIN vTimerCallback_KnightRider */
	static uint8_t led_state = 0b00001;
	static uint8_t direction = 1;
	HAL_GPIO_WritePin(GPIOA, GPIO_PIN_15,
			(led_state & 0x01) ? GPIO_PIN_SET : GPIO_PIN_RESET);
	HAL_GPIO_WritePin(GPIOD, GPIO_PIN_0,
			(led_state & 0x02) ? GPIO_PIN_SET : GPIO_PIN_RESET);
	HAL_GPIO_WritePin(GPIOD, GPIO_PIN_1,
			(led_state & 0x04) ? GPIO_PIN_SET : GPIO_PIN_RESET);
	HAL_GPIO_WritePin(GPIOD, GPIO_PIN_2,
			(led_state & 0x08) ? GPIO_PIN_SET : GPIO_PIN_RESET);
	HAL_GPIO_WritePin(GPIOD, GPIO_PIN_3,
			(led_state & 0x10) ? GPIO_PIN_SET : GPIO_PIN_RESET);

	if (direction) {
		led_state <<= 1;
		if (led_state & 0x10)
			direction = 0;
	} else {
		led_state >>= 1;
		if (led_state & 0x01)
			direction = 1;
	}
  /* USER CODE END vTimerCallback_KnightRider */
}

void HAL_TIM_PeriodElapsedCallback(TIM_HandleTypeDef *htim)
{
  if (htim->Instance == TIM3)
  {
    HAL_IncTick();
  }
}

void Error_Handler(void)
{
	__disable_irq();
	while (1) {
	}
}

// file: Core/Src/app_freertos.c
/* USER CODE BEGIN Header */
/**
  ******************************************************************************
  * File Name          : app_freertos.c
  * Description        : Code for freertos applications
  ******************************************************************************
  * @attention
  *
  * Copyright (c) 2025 STMicroelectronics.
  * All rights reserved.
  *
  * This software is licensed under terms that can be found in the LICENSE file
  * in the root directory of this software component.
  * If no LICENSE file comes with this software, it is provided AS-IS.
  *
  ******************************************************************************
  */
/* USER CODE END Header */

#include "FreeRTOS.h"
#include "task.h"
#include "main.h"

/* GetIdleTaskMemory prototype (linked to static allocation support) */
void vApplicationGetIdleTaskMemory( StaticTask_t **ppxIdleTaskTCBBuffer, StackType_t **ppxIdleTaskStackBuffer, uint32_t *pulIdleTaskStackSize );

/* GetTimerTaskMemory prototype (linked to static allocation support) */
void vApplicationGetTimerTaskMemory( StaticTask_t **ppxTimerTaskTCBBuffer, StackType_t **ppxTimerTaskStackBuffer, uint32_t *pulTimerTaskStackSize );

/* USER CODE BEGIN GET_IDLE_TASK_MEMORY */
static StaticTask_t xIdleTaskTCBBuffer;
static StackType_t xIdleStack[configMINIMAL_STACK_SIZE];

void vApplicationGetIdleTaskMemory( StaticTask_t **ppxIdleTaskTCBBuffer, StackType_t **ppxIdleTaskStackBuffer, uint32_t *pulIdleTaskStackSize )
{
  *ppxIdleTaskTCBBuffer = &xIdleTaskTCBBuffer;
  *ppxIdleTaskStackBuffer = &xIdleStack[0];
  *pulIdleTaskStackSize = configMINIMAL_STACK_SIZE;
  /* place for user code */
}
/* USER CODE END GET_IDLE_TASK_MEMORY */

/* USER CODE BEGIN GET_TIMER_TASK_MEMORY */
static StaticTask_t xTimerTaskTCBBuffer;
static StackType_t xTimerStack[configTIMER_TASK_STACK_DEPTH];

void vApplicationGetTimerTaskMemory( StaticTask_t **ppxTimerTaskTCBBuffer, StackType_t **ppxTimerTaskStackBuffer, uint32_t *pulTimerTaskStackSize )
{
  *ppxTimerTaskTCBBuffer = &xTimerTaskTCBBuffer;
  *ppxTimerTaskStackBuffer = &xTimerStack[0];
  *pulTimerTaskStackSize = configTIMER_TASK_STACK_DEPTH;
  /* place for user code */
}
/* USER CODE END GET_TIMER_TASK_MEMORY */
